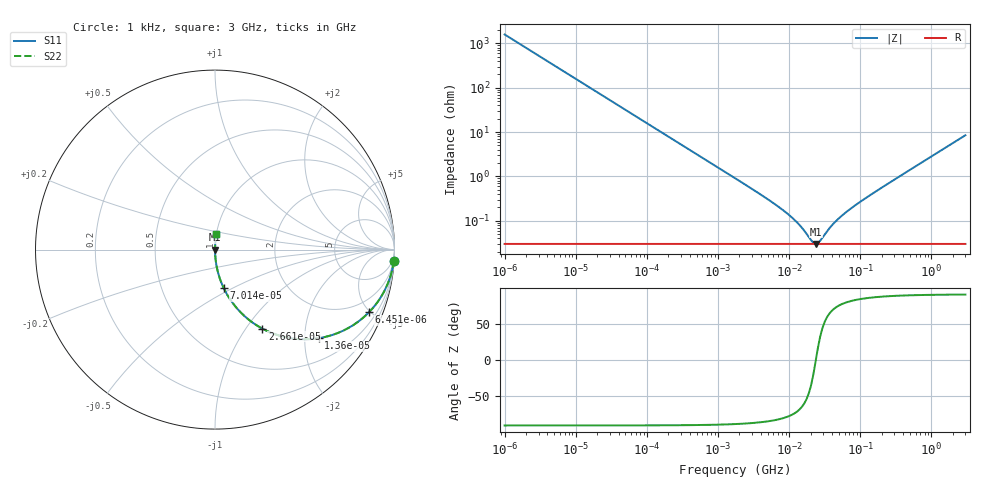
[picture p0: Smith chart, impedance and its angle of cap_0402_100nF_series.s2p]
! Simple PI Calculator example (synthetic, not measured data)
! 0.1 uF 0402 series R-L-C (R = 30 mOhm, L = 0.45 nH, C = 100 nF), series-through fixture
! generated by tools/make_example_s2p.py from examples/cap_0402_100nF.mod
! f  S11(re im)  S21(re im)  S12(re im)  S22(re im)
# HZ S RI R 50
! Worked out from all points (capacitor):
!   201 points, 1 kHz to 3 GHz, reference 50 ohm
!   read as one part in series: C = 100 nF near 1.077 kHz
!   lowest |Z| = 30 mohm at 23.55 MHz (marker M1)
!   series resonance near 23.73 MHz, so ESL is about 450 pH
!   S11 on the Smith chart (normalised r, x): 1 kHz: 1, -32; 6.451 kHz: 1.00, -4.93; 13.6 kHz: 1.00, -2.34; 26.61 kHz: 1.00, -1.20; 70.14 kHz: 1.00, -0.45; 3 GHz: 1.00, +0.17
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1000  0.9961 -0.0626  0.00393 0.0626  0.00393 0.0626  0.9961 -0.0626
3060.442  0.9643 -0.1854  0.0357 0.1854  0.0357 0.1854  0.9643 -0.1854
6451.195  0.8589 -0.3481  0.1411 0.3481  0.1411 0.3481  0.8589 -0.3481
12621.49  0.6139 -0.4867  0.3861 0.4867  0.3861 0.4867  0.6139 -0.4867
13598.66  0.578 -0.4938  0.422 0.4938  0.422 0.4938  0.578 -0.4938
18324.77  0.43 -0.4949  0.57 0.4949  0.57 0.4949  0.43 -0.4949
26605.21  0.2636 -0.4404  0.7364 0.4404  0.7364 0.4404  0.2636 -0.4404
41617.91  0.1278 -0.3335  0.8722 0.3335  0.8722 0.3335  0.1278 -0.3335
70142.23  0.0492 -0.2157  0.9508 0.2157  0.9508 0.2157  0.0492 -0.2157
147854.9  0.0117 -0.1063  0.9883 0.1063  0.9883 0.1063  0.0117 -0.1063
389806  0.00196 -0.0407  0.998 0.0407  0.998 0.0407  0.00196 -0.0407
1732051  0.000383 -0.00913  0.9996 0.00913  0.9996 0.00913  0.000383 -0.00913
5300840  0.000308 -0.00285  0.9997 0.00285  0.9997 0.00285  0.000308 -0.00285
9625639  0.000302 -0.00138  0.9997 0.00138  0.9997 0.00138  0.000302 -0.00138
1.397519e7  0.0003 -0.000743  0.9997 0.000743  0.9997 0.000743  0.0003 -0.000743
2.186106e7  0.0003 -0.00011  0.9997 0.00011  0.9997 0.00011  0.0003 -0.00011
2.355358e7  0.0003 -9.75e-06  0.9997 9.75e-06  0.9997 9.75e-06  0.0003 -9.75e-06
2.734186e7  0.0003 0.000191  0.9997 -0.000191  0.9997 -0.000191  0.0003 0.000191
3.969685e7  0.0003 0.000721  0.9997 -0.000721  0.9997 -0.000721  0.0003 0.000721
5.763471e7  0.000302 0.00135  0.9997 -0.00135  0.9997 -0.00135  0.000302 0.00135
2.560921e8  0.000351 0.00717  0.9996 -0.00717  0.9996 -0.00717  0.000351 0.00717
3e9  0.00744 0.0842  0.9926 -0.0842  0.9926 -0.0842  0.00744 0.0842
